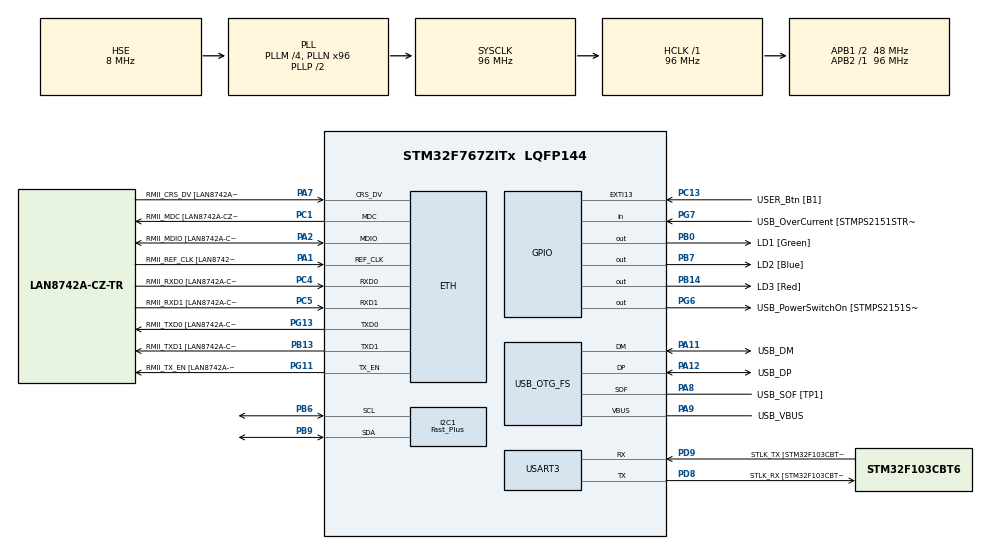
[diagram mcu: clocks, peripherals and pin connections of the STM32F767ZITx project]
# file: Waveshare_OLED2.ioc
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ETH.MediaInterface=ETH_MEDIA_INTERFACE_RMII
ETH.PHY_Name=LAN8742A_PHY_ADDRESS
ETH.PHY_Value=0
ETH.PhyAddress=0
I2C1.I2C_Speed_Mode=I2C_Fast_Plus
I2C1.Timing=0x20000209
Mcu.Family=STM32F7
Mcu.Name=STM32F767ZITx
Mcu.Package=LQFP144
NVIC.EXTI15_10_IRQn=true\:0\:0\:false\:false\:true\:true\:true
NVIC.PriorityGroup=NVIC_PRIORITYGROUP_4
PA1.GPIO_Label=RMII_REF_CLK [LAN8742A-CZ-TR_REFCLK0]
PA1.Mode=RMII
PA1.Signal=ETH_REF_CLK
PA10.GPIO_Label=USB_ID
PA10.Signal=USB_OTG_FS_ID
PA11.GPIO_Label=USB_DM
PA11.Mode=Device_Only
PA11.Signal=USB_OTG_FS_DM
PA12.GPIO_Label=USB_DP
PA12.Mode=Device_Only
PA12.Signal=USB_OTG_FS_DP
PA13.GPIO_Label=TMS
PA13.Mode=Serial_Wire
PA13.Signal=SYS_JTMS-SWDIO
PA14.GPIO_Label=TCK
PA14.Mode=Serial_Wire
PA14.Signal=SYS_JTCK-SWCLK
PA2.GPIO_Label=RMII_MDIO [LAN8742A-CZ-TR_MDIO]
PA2.Mode=RMII
PA2.Signal=ETH_MDIO
PA7.GPIO_Label=RMII_CRS_DV [LAN8742A-CZ-TR_CRS_DV]
PA7.Mode=RMII
PA7.Signal=ETH_CRS_DV
PA8.GPIO_Label=USB_SOF [TP1]
PA8.Mode=Activate_SOF_FS
PA8.Signal=USB_OTG_FS_SOF
PA9.GPIO_Label=USB_VBUS
PA9.Mode=Activate_VBUS
PA9.Signal=USB_OTG_FS_VBUS
PB0.GPIO_Label=LD1 [Green]
PB0.Signal=GPIO_Output
PB13.GPIO_Label=RMII_TXD1 [LAN8742A-CZ-TR_TXD1]
PB13.Mode=RMII
PB13.Signal=ETH_TXD1
PB14.GPIO_Label=LD3 [Red]
PB14.Signal=GPIO_Output
PB3.GPIO_Label=SWO
PB3.Signal=SYS_JTDO-SWO
PB6.Mode=I2C
PB6.Signal=I2C1_SCL
PB7.GPIO_Label=LD2 [Blue]
PB7.Signal=GPIO_Output
PB9.Mode=I2C
PB9.Signal=I2C1_SDA
PC1.GPIO_Label=RMII_MDC [LAN8742A-CZ-TR_MDC]
PC1.Mode=RMII
PC1.Signal=ETH_MDC
PC13.GPIO_Label=USER_Btn [B1]
PC13.Signal=GPXTI13
PC14/OSC32_IN.Mode=LSE-External-Oscillator
PC14/OSC32_IN.Signal=RCC_OSC32_IN
PC15/OSC32_OUT.Mode=LSE-External-Oscillator
PC15/OSC32_OUT.Signal=RCC_OSC32_OUT
PC4.GPIO_Label=RMII_RXD0 [LAN8742A-CZ-TR_RXD0]
PC4.Mode=RMII
PC4.Signal=ETH_RXD0
PC5.GPIO_Label=RMII_RXD1 [LAN8742A-CZ-TR_RXD1]
PC5.Mode=RMII
PC5.Signal=ETH_RXD1
PD8.GPIO_Label=STLK_RX [STM32F103CBT6_PA3]
PD8.Mode=Asynchronous
PD8.Signal=USART3_TX
PD9.GPIO_Label=STLK_TX [STM32F103CBT6_PA2]
PD9.Mode=Asynchronous
PD9.Signal=USART3_RX
PG11.GPIO_Label=RMII_TX_EN [LAN8742A-CZ-TR_TXEN]
PG11.Mode=RMII
PG11.Signal=ETH_TX_EN
PG13.GPIO_Label=RMII_TXD0 [LAN8742A-CZ-TR_TXD0]
PG13.Mode=RMII
PG13.Signal=ETH_TXD0
PG6.GPIO_Label=USB_PowerSwitchOn [STMPS2151STR_EN]
PG6.Signal=GPIO_Output
PG7.GPIO_Label=USB_OverCurrent [STMPS2151STR_FAULT]
PG7.Signal=GPIO_Input
PH0/OSC_IN.GPIO_Label=MCO [STM32F103CBT6_PA8]
PH0/OSC_IN.Mode=HSE-External-Clock-Source
PH0/OSC_IN.Signal=RCC_OSC_IN
PH1/OSC_OUT.Mode=HSE-External-Clock-Source
PH1/OSC_OUT.Signal=RCC_OSC_OUT
ProjectManager.HeapSize=0x200
ProjectManager.StackSize=0x400
ProjectManager.TargetToolchain=STM32CubeIDE
RCC.48MHZClocksFreq_Value=24000000
RCC.AHBFreq_Value=96000000
RCC.APB1CLKDivider=RCC_HCLK_DIV2
RCC.APB1Freq_Value=48000000
RCC.APB1TimFreq_Value=96000000
RCC.APB2Freq_Value=96000000
RCC.APB2TimFreq_Value=96000000
RCC.CortexFreq_Value=96000000
RCC.HCLKFreq_Value=96000000
RCC.HSE_VALUE=8000000
RCC.HSI_VALUE=16000000
RCC.PLLM=4
RCC.PLLMUL=RCC_PLL_MUL9
RCC.PLLN=96
RCC.PLLQ=4
RCC.PRESCALERUSB=RCC_USBCLKSOURCE_PLL_DIV1_5
RCC.SYSCLKFreq_VALUE=96000000
RCC.SYSCLKSource=RCC_SYSCLKSOURCE_PLLCLK
RCC.SYSCLKSourceVirtual=RCC_SYSCLKSOURCE_PLLCLK
RCC.USBFreq_Value=48000000
RCC.VCOOutputFreq_Value=192000000
USART3.VirtualMode-Asynchronous=VM_ASYNC
USB_OTG_FS.VirtualMode=Device_Only
board=NUCLEO-F767ZI

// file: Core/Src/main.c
/* USER CODE BEGIN Header */
/**
  ******************************************************************************
  * @file           : main.c
  * @brief          : Main program body
  ******************************************************************************
  * @attention
  *
  * Copyright (c) 2022 STMicroelectronics.
  * All rights reserved.
  *
  * This software is licensed under terms that can be found in the LICENSE file
  * in the root directory of this software component.
  * If no LICENSE file comes with this software, it is provided AS-IS.
  *
  ******************************************************************************
  */
/* USER CODE END Header */
#include "main.h"

/* USER CODE BEGIN Includes */
#include "i2c.h"
#include "usart.h"
#include "../User/OLED/OLED_1in5.h"

#include "gpio.h"
#include "../User/Example/test.h"
/* USER CODE END Includes */

ETH_HandleTypeDef heth;

I2C_HandleTypeDef hi2c1;

UART_HandleTypeDef huart3;

PCD_HandleTypeDef hpcd_USB_OTG_FS;

/* USER CODE BEGIN PV */
uint8_t toggle;
/* USER CODE END PV */

void SystemClock_Config(void);
static void MX_GPIO_Init(void);
static void MX_ETH_Init(void);
static void MX_USART3_UART_Init(void);
static void MX_USB_OTG_FS_PCD_Init(void);
static void MX_I2C1_Init(void);

int main(void)
{

  /* MCU Configuration--------------------------------------------------------*/

  /* Reset of all peripherals, Initializes the Flash interface and the Systick. */
  HAL_Init();

  /* Configure the system clock */
  SystemClock_Config();

  /* Initialize all configured peripherals */
  MX_GPIO_Init();
//  MX_ETH_Init();
  MX_USART3_UART_Init();
  MX_USB_OTG_FS_PCD_Init();
  MX_I2C1_Init();
  /* USER CODE BEGIN 2 */
  OLED_1in5_test();
  /* USER CODE END 2 */

  /* Infinite loop */
  /* USER CODE BEGIN WHILE */

  uint8_t counter = 0;
	UBYTE *BlackImage;
	UWORD Imagesize = ((OLED_1in5_WIDTH%2==0)? (OLED_1in5_WIDTH/2): (OLED_1in5_WIDTH/2+1)) * OLED_1in5_HEIGHT;
	if((BlackImage = (UBYTE *)malloc(Imagesize)) == NULL) {
			printf("Failed to apply for black memory...\r\n");
			return -1;
	}
	printf("Paint_NewImage\r\n");
	Paint_NewImage(BlackImage, OLED_1in5_WIDTH, OLED_1in5_HEIGHT, 270, BLACK);
	Paint_SetScale(16);
	printf("Drawing\r\n");
	//1.Select Image
	Paint_SelectImage(BlackImage);
	Driver_Delay_ms(500);
	Paint_Clear(BLACK);
	float X = 0.0f;
	float Y = 0.0f;
	int dec = 0;

  while (1)
  {

	  if (toggle == 0)
		{
		Paint_DrawCircle(30*cos(X*3.14/180)+64, 30*sin(Y*3.14/180)+64, 20, WHITE, DOT_PIXEL_1X1, DRAW_FILL_FULL);
		OLED_1in5_Display(BlackImage);
		Paint_Clear(BLACK);

		X = X+4;
		Y = Y+4;
		}
	  if (toggle == 1)
	  {
		  OLED_1in5_Display(gImage_nyan1);
		  OLED_1in5_Display(gImage_nyan2);
		  OLED_1in5_Display(gImage_nyan3);
		  OLED_1in5_Display(gImage_nyan4);
		  OLED_1in5_Display(gImage_nyan5);

	  }

	  if (toggle == 2)
	  {
		  OLED_1in5_Display(gImage_1in5);
	  }

    /* USER CODE END WHILE */

  }
}

void SystemClock_Config(void)
{
  RCC_OscInitTypeDef RCC_OscInitStruct = {0};
  RCC_ClkInitTypeDef RCC_ClkInitStruct = {0};

  /** Configure LSE Drive Capability
  */
  HAL_PWR_EnableBkUpAccess();
  /** Configure the main internal regulator output voltage
  */
  __HAL_RCC_PWR_CLK_ENABLE();
  __HAL_PWR_VOLTAGESCALING_CONFIG(PWR_REGULATOR_VOLTAGE_SCALE3);
  /** Initializes the RCC Oscillators according to the specified parameters
  * in the RCC_OscInitTypeDef structure.
  */
  RCC_OscInitStruct.OscillatorType = RCC_OSCILLATORTYPE_HSE;
  RCC_OscInitStruct.HSEState = RCC_HSE_BYPASS;
  RCC_OscInitStruct.PLL.PLLState = RCC_PLL_ON;
  RCC_OscInitStruct.PLL.PLLSource = RCC_PLLSOURCE_HSE;
  RCC_OscInitStruct.PLL.PLLM = 4;
  RCC_OscInitStruct.PLL.PLLN = 96;
  RCC_OscInitStruct.PLL.PLLP = RCC_PLLP_DIV2;
  RCC_OscInitStruct.PLL.PLLQ = 4;
  RCC_OscInitStruct.PLL.PLLR = 2;
  if (HAL_RCC_OscConfig(&RCC_OscInitStruct) != HAL_OK)
  {
    Error_Handler();
  }
  /** Activate the Over-Drive mode
  */
  if (HAL_PWREx_EnableOverDrive() != HAL_OK)
  {
    Error_Handler();
  }
  /** Initializes the CPU, AHB and APB buses clocks
  */
  RCC_ClkInitStruct.ClockType = RCC_CLOCKTYPE_HCLK|RCC_CLOCKTYPE_SYSCLK
                              |RCC_CLOCKTYPE_PCLK1|RCC_CLOCKTYPE_PCLK2;
  RCC_ClkInitStruct.SYSCLKSource = RCC_SYSCLKSOURCE_PLLCLK;
  RCC_ClkInitStruct.AHBCLKDivider = RCC_SYSCLK_DIV1;
  RCC_ClkInitStruct.APB1CLKDivider = RCC_HCLK_DIV2;
  RCC_ClkInitStruct.APB2CLKDivider = RCC_HCLK_DIV1;

  if (HAL_RCC_ClockConfig(&RCC_ClkInitStruct, FLASH_LATENCY_3) != HAL_OK)
  {
    Error_Handler();
  }
}

static void MX_ETH_Init(void)
{

   static uint8_t MACAddr[6];

  heth.Instance = ETH;
  heth.Init.AutoNegotiation = ETH_AUTONEGOTIATION_ENABLE;
  heth.Init.Speed = ETH_SPEED_100M;
  heth.Init.DuplexMode = ETH_MODE_FULLDUPLEX;
  heth.Init.PhyAddress = LAN8742A_PHY_ADDRESS;
  MACAddr[0] = 0x00;
  MACAddr[1] = 0x80;
  MACAddr[2] = 0xE1;
  MACAddr[3] = 0x00;
  MACAddr[4] = 0x00;
  MACAddr[5] = 0x00;
  heth.Init.MACAddr = &MACAddr[0];
  heth.Init.RxMode = ETH_RXPOLLING_MODE;
  heth.Init.ChecksumMode = ETH_CHECKSUM_BY_HARDWARE;
  heth.Init.MediaInterface = ETH_MEDIA_INTERFACE_RMII;

  if (HAL_ETH_Init(&heth) != HAL_OK)
  {
    Error_Handler();
  }

}

static void MX_I2C1_Init(void)
{

  hi2c1.Instance = I2C1;
  hi2c1.Init.Timing = 0x20000209;
  hi2c1.Init.OwnAddress1 = 0;
  hi2c1.Init.AddressingMode = I2C_ADDRESSINGMODE_7BIT;
  hi2c1.Init.DualAddressMode = I2C_DUALADDRESS_DISABLE;
  hi2c1.Init.OwnAddress2 = 0;
  hi2c1.Init.OwnAddress2Masks = I2C_OA2_NOMASK;
  hi2c1.Init.GeneralCallMode = I2C_GENERALCALL_DISABLE;
  hi2c1.Init.NoStretchMode = I2C_NOSTRETCH_DISABLE;
  if (HAL_I2C_Init(&hi2c1) != HAL_OK)
  {
    Error_Handler();
  }
  /** Configure Analogue filter
  */
  if (HAL_I2CEx_ConfigAnalogFilter(&hi2c1, I2C_ANALOGFILTER_ENABLE) != HAL_OK)
  {
    Error_Handler();
  }
  /** Configure Digital filter
  */
  if (HAL_I2CEx_ConfigDigitalFilter(&hi2c1, 0) != HAL_OK)
  {
    Error_Handler();
  }
  /** I2C Enable Fast Mode Plus
  */
  HAL_I2CEx_EnableFastModePlus(I2C_FASTMODEPLUS_I2C1);

}

static void MX_USART3_UART_Init(void)
{

  huart3.Instance = USART3;
  huart3.Init.BaudRate = 115200;
  huart3.Init.WordLength = UART_WORDLENGTH_8B;
  huart3.Init.StopBits = UART_STOPBITS_1;
  huart3.Init.Parity = UART_PARITY_NONE;
  huart3.Init.Mode = UART_MODE_TX_RX;
  huart3.Init.HwFlowCtl = UART_HWCONTROL_NONE;
  huart3.Init.OverSampling = UART_OVERSAMPLING_16;
  huart3.Init.OneBitSampling = UART_ONE_BIT_SAMPLE_DISABLE;
  huart3.AdvancedInit.AdvFeatureInit = UART_ADVFEATURE_NO_INIT;
  if (HAL_UART_Init(&huart3) != HAL_OK)
  {
    Error_Handler();
  }

}

static void MX_USB_OTG_FS_PCD_Init(void)
{

  hpcd_USB_OTG_FS.Instance = USB_OTG_FS;
  hpcd_USB_OTG_FS.Init.dev_endpoints = 6;
  hpcd_USB_OTG_FS.Init.speed = PCD_SPEED_FULL;
  hpcd_USB_OTG_FS.Init.dma_enable = DISABLE;
  hpcd_USB_OTG_FS.Init.phy_itface = PCD_PHY_EMBEDDED;
  hpcd_USB_OTG_FS.Init.Sof_enable = ENABLE;
  hpcd_USB_OTG_FS.Init.low_power_enable = DISABLE;
  hpcd_USB_OTG_FS.Init.lpm_enable = DISABLE;
  hpcd_USB_OTG_FS.Init.vbus_sensing_enable = ENABLE;
  hpcd_USB_OTG_FS.Init.use_dedicated_ep1 = DISABLE;
  if (HAL_PCD_Init(&hpcd_USB_OTG_FS) != HAL_OK)
  {
    Error_Handler();
  }

}

static void MX_GPIO_Init(void)
{
  GPIO_InitTypeDef GPIO_InitStruct = {0};

  /* GPIO Ports Clock Enable */
  __HAL_RCC_GPIOC_CLK_ENABLE();
  __HAL_RCC_GPIOH_CLK_ENABLE();
  __HAL_RCC_GPIOA_CLK_ENABLE();
  __HAL_RCC_GPIOB_CLK_ENABLE();
  __HAL_RCC_GPIOD_CLK_ENABLE();
  __HAL_RCC_GPIOG_CLK_ENABLE();

  /*Configure GPIO pin Output Level */
  HAL_GPIO_WritePin(GPIOB, LD1_Pin|LD3_Pin|LD2_Pin, GPIO_PIN_RESET);

  /*Configure GPIO pin Output Level */
  HAL_GPIO_WritePin(USB_PowerSwitchOn_GPIO_Port, USB_PowerSwitchOn_Pin, GPIO_PIN_RESET);

  /*Configure GPIO pin : USER_Btn_Pin */
  GPIO_InitStruct.Pin = USER_Btn_Pin;
  GPIO_InitStruct.Mode = GPIO_MODE_IT_RISING;
  GPIO_InitStruct.Pull = GPIO_NOPULL;
  HAL_GPIO_Init(USER_Btn_GPIO_Port, &GPIO_InitStruct);

  /*Configure GPIO pins : LD1_Pin LD3_Pin LD2_Pin */
  GPIO_InitStruct.Pin = LD1_Pin|LD3_Pin|LD2_Pin;
  GPIO_InitStruct.Mode = GPIO_MODE_OUTPUT_PP;
  GPIO_InitStruct.Pull = GPIO_NOPULL;
  GPIO_InitStruct.Speed = GPIO_SPEED_FREQ_LOW;
  HAL_GPIO_Init(GPIOB, &GPIO_InitStruct);

  /*Configure GPIO pin : USB_PowerSwitchOn_Pin */
  GPIO_InitStruct.Pin = USB_PowerSwitchOn_Pin;
  GPIO_InitStruct.Mode = GPIO_MODE_OUTPUT_PP;
  GPIO_InitStruct.Pull = GPIO_NOPULL;
  GPIO_InitStruct.Speed = GPIO_SPEED_FREQ_LOW;
  HAL_GPIO_Init(USB_PowerSwitchOn_GPIO_Port, &GPIO_InitStruct);

  /*Configure GPIO pin : USB_OverCurrent_Pin */
  GPIO_InitStruct.Pin = USB_OverCurrent_Pin;
  GPIO_InitStruct.Mode = GPIO_MODE_INPUT;
  GPIO_InitStruct.Pull = GPIO_NOPULL;
  HAL_GPIO_Init(USB_OverCurrent_GPIO_Port, &GPIO_InitStruct);

  /* EXTI interrupt init*/
  HAL_NVIC_SetPriority(EXTI15_10_IRQn, 0, 0);
  HAL_NVIC_EnableIRQ(EXTI15_10_IRQn);

}

void Error_Handler(void)
{
  __disable_irq();
  while (1)
  {
  }
}
